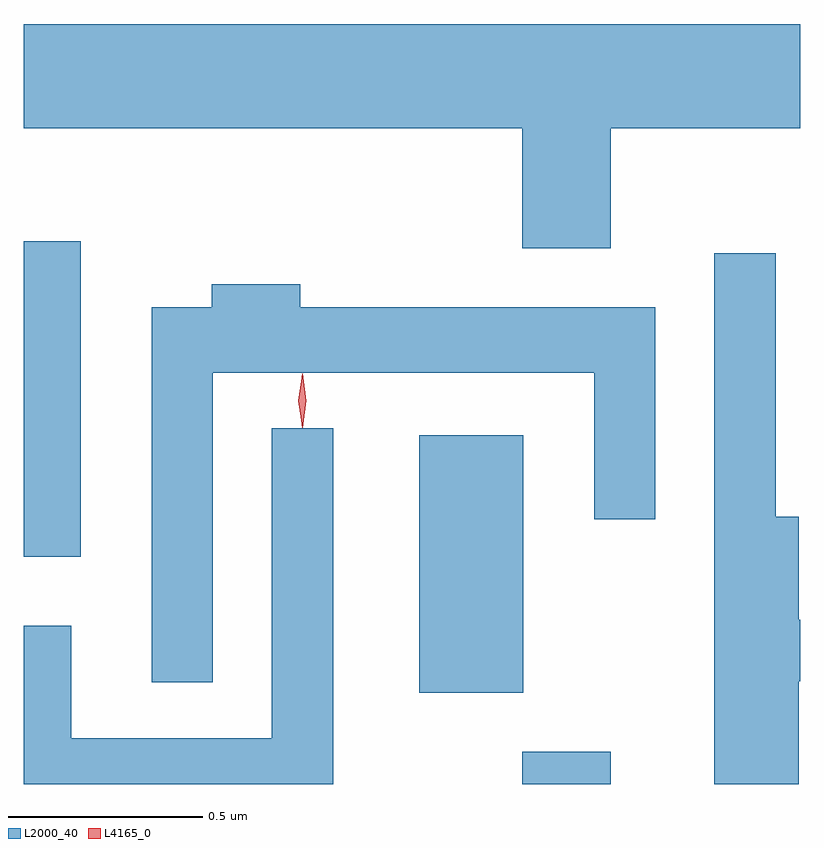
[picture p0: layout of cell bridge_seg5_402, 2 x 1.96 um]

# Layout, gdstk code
import gdstk
lib = gdstk.Library(unit=1e-6, precision=1e-09)
def R(c, l, rs):  # rectangles x0, y0, x1, y1
    for r in rs: c.add(gdstk.rectangle(r[:2], r[2:], *l))
def P(c, l, *ps):  # polygons
    for p in ps: c.add(gdstk.Polygon(p, *l))
L2000_40 = (2000, 40)
L4165_0 = (4165, 0)

bridge_seg5_402 = lib.new_cell('bridge_seg5_402')
R(bridge_seg5_402, L2000_40, [(400.891,1488.406,401.119,1488.489), (400.626,1488.641,400.894,1489.304), (399.607,1488.991,399.754,1489.804)])
P(bridge_seg5_402, L2000_40, [(401.119,1490.096),(401.607,1490.096),(401.607,1490.364),(399.607,1490.364),(399.607,1490.096),(400.891,1490.096),(400.891,1489.786),(401.119,1489.786)],
  [(401.604,1488.671),(401.607,1488.671),(401.607,1488.829),(401.604,1488.829),(401.604,1489.094),(401.544,1489.094),(401.544,1489.773),(401.386,1489.773),(401.386,1488.406),(401.604,1488.406)],
  [(400.094,1489.466),(401.076,1489.466),(401.076,1489.088),(401.234,1489.088),(401.234,1489.634),(400.319,1489.634),(400.319,1489.694),(400.091,1489.694),(400.091,1489.634),(399.936,1489.634),(399.936,1488.668),(400.094,1488.668)],
  [(400.404,1489.323),(400.246,1489.323),(400.246,1488.524),(399.729,1488.524),(399.729,1488.814),(399.607,1488.814),(399.607,1488.406),(400.404,1488.406)])
P(bridge_seg5_402, L4165_0, [(400.324,1489.324),(400.315,1489.394),(400.324,1489.463),(400.325,1489.463),(400.326,1489.463),(400.335,1489.394),(400.326,1489.324),(400.325,1489.324)],
  [(400.325,1489.327),(400.324,1489.328),(400.314,1489.394),(400.324,1489.46),(400.324,1489.46),(400.325,1489.46),(400.334,1489.394),(400.325,1489.328)])

lib.write_gds('bridge_seg5_402.gds')
